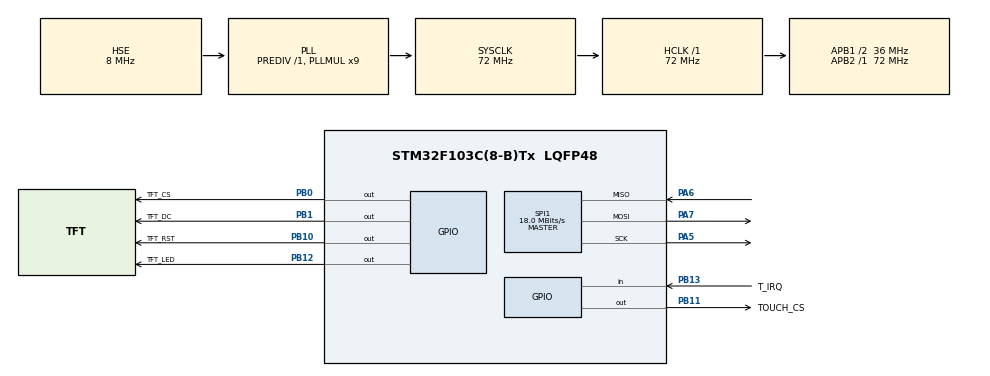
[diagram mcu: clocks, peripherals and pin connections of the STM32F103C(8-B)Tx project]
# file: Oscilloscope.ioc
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Dma.Request0=SPI1_TX
Dma.SPI1_TX.0.Direction=DMA_MEMORY_TO_PERIPH
Dma.SPI1_TX.0.Instance=DMA1_Channel3
Dma.SPI1_TX.0.MemDataAlignment=DMA_MDATAALIGN_BYTE
Dma.SPI1_TX.0.MemInc=DMA_MINC_ENABLE
Dma.SPI1_TX.0.Mode=DMA_NORMAL
Dma.SPI1_TX.0.PeriphDataAlignment=DMA_PDATAALIGN_BYTE
Dma.SPI1_TX.0.PeriphInc=DMA_PINC_DISABLE
Dma.SPI1_TX.0.Priority=DMA_PRIORITY_MEDIUM
Mcu.Family=STM32F1
Mcu.Name=STM32F103C(8-B)Tx
Mcu.Package=LQFP48
NVIC.DMA1_Channel3_IRQn=true\:0\:0\:false\:false\:true\:false\:true\:true
NVIC.PriorityGroup=NVIC_PRIORITYGROUP_4
PA5.Mode=Full_Duplex_Master
PA5.Signal=SPI1_SCK
PA6.Mode=Full_Duplex_Master
PA6.Signal=SPI1_MISO
PA7.Mode=Full_Duplex_Master
PA7.Signal=SPI1_MOSI
PB0.GPIO_Label=TFT_CS
PB0.GPIO_Speed=GPIO_SPEED_FREQ_HIGH
PB0.PinState=GPIO_PIN_SET
PB0.Signal=GPIO_Output
PB1.GPIO_Label=TFT_DC
PB1.GPIO_Speed=GPIO_SPEED_FREQ_HIGH
PB1.PinState=GPIO_PIN_SET
PB1.Signal=GPIO_Output
PB10.GPIO_Label=TFT_RST
PB10.GPIO_Speed=GPIO_SPEED_FREQ_HIGH
PB10.PinState=GPIO_PIN_SET
PB10.Signal=GPIO_Output
PB11.GPIO_Label=TOUCH_CS
PB11.GPIO_Speed=GPIO_SPEED_FREQ_HIGH
PB11.PinState=GPIO_PIN_SET
PB11.Signal=GPIO_Output
PB12.GPIO_Label=TFT_LED
PB12.GPIO_Speed=GPIO_SPEED_FREQ_HIGH
PB12.PinState=GPIO_PIN_SET
PB12.Signal=GPIO_Output
PB13.GPIO_Label=T_IRQ
PB13.Signal=GPIO_Input
PD0-OSC_IN.Mode=HSE-External-Oscillator
PD0-OSC_IN.Signal=RCC_OSC_IN
PD1-OSC_OUT.Mode=HSE-External-Oscillator
PD1-OSC_OUT.Signal=RCC_OSC_OUT
ProjectManager.HeapSize=0x200
ProjectManager.StackSize=0x400
ProjectManager.TargetToolchain=STM32CubeIDE
RCC.AHBFreq_Value=72000000
RCC.APB1CLKDivider=RCC_HCLK_DIV2
RCC.APB1Freq_Value=36000000
RCC.APB1TimFreq_Value=72000000
RCC.APB2Freq_Value=72000000
RCC.APB2TimFreq_Value=72000000
RCC.HCLKFreq_Value=72000000
RCC.PLLMUL=RCC_PLL_MUL9
RCC.PLLSourceVirtual=RCC_PLLSOURCE_HSE
RCC.SYSCLKFreq_VALUE=72000000
RCC.SYSCLKSource=RCC_SYSCLKSOURCE_PLLCLK
RCC.USBFreq_Value=72000000
SPI1.BaudRatePrescaler=SPI_BAUDRATEPRESCALER_4
SPI1.CalculateBaudRate=18.0 MBits/s
SPI1.Direction=SPI_DIRECTION_2LINES
SPI1.Mode=SPI_MODE_MASTER
SPI1.VirtualType=VM_MASTER
VP_SYS_VS_ND.Mode=No_Debug
board=custom

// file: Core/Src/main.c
/* USER CODE BEGIN Header */
/**
  ******************************************************************************
  * @file           : main.c
  * @brief          : Flappy Cube (Ultimate 60FPS Edition)
  ******************************************************************************
  */
/* USER CODE END Header */

#include "main.h"
#include "dma.h"
#include "spi.h"
#include "gpio.h"

/* USER CODE BEGIN Includes */

#include "st7789.h"
#include "XPT2046.h"
#include <stdlib.h>
#include <stdbool.h>
#include <stdio.h>

/* USER CODE END Includes */

/* USER CODE BEGIN PTD */

typedef enum {
    STATE_MENU,
    STATE_DIFFICULTY,
    STATE_PLAYING,
    STATE_DEATH_FALL,
    STATE_GAMEOVER
} GameState;

/* USER CODE END PTD */

/* USER CODE BEGIN PD */

// Game Base Constants
#define BIRD_X           60
#define BIRD_SIZE        14
#define PIPE_WIDTH       40
#define FPS_TARGET_MS    16     // ~60 FPS

// Fixed-Point Math Constants (For sub-pixel smooth physics)
#define FLAP_STRENGTH_FP -1200
#define TERM_VEL_FP      1800

/* USER CODE END PD */

/* USER CODE BEGIN PV */

touch_t touch;

GameState game_state = STATE_MENU;

// Dynamic Gameplay Variables
int pipe_speed = 3;
int gap_size = 85;
int gravity_fp = 70;
uint16_t bird_base_color = YELLOW;
int current_level = 1;

// Physics Variables
int32_t bird_y_fp = (120 << 8);
int32_t bird_vy_fp = 0;
int bird_y = 120; // Actual pixel Y

int pipe_x = 240;
int gap_y = 80;

// Score Tracking
int score = 0;
int last_score = -1;
int high_score = 0;
int score_color_timer = 0;

uint32_t frame_count = 0;
bool was_touched = false;
char text_buffer[20];

/* USER CODE END PV */

void SystemClock_Config(void);

/* USER CODE BEGIN 0 */

/* Helper to draw optimized delta rectangles with boundary clipping */
void Draw_Clipped_Rect(int x, int y, int w, int h, uint16_t color) {
    if (x >= ST7789_WIDTH || x + w <= 0 || y >= ST7789_HEIGHT || y + h <= 0) return;

    int cx = x < 0 ? 0 : x;
    int cy = y < 0 ? 0 : y;
    int cw = (x + w > ST7789_WIDTH) ? ST7789_WIDTH - cx : x + w - cx;
    int ch = (y + h > ST7789_HEIGHT) ? ST7789_HEIGHT - cy : y + h - cy;

    if (cw > 0 && ch > 0) {
        ST7789_DrawFilledRectangle(cx, cy, cw, ch, color);
    }
}

/* ZERO FLICKER BIRD RENDERING (With Dynamic Color Change Support) */
void Update_Bird_Display(int old_y, int new_y, uint16_t color) {
    static uint16_t last_color = BLACK;

    // If color changes (e.g. glowing while flapping), force full redraw to prevent artifacts
    if (color != last_color) {
        ST7789_DrawFilledRectangle(BIRD_X, old_y, BIRD_SIZE, BIRD_SIZE, BLACK);
        ST7789_DrawFilledRectangle(BIRD_X, new_y, BIRD_SIZE, BIRD_SIZE, color);
        last_color = color;
        return;
    }

    if (old_y == new_y) return;

    int dy = new_y - old_y;

    if (dy > 0) { // Moving DOWN
        if (dy < BIRD_SIZE) {
            ST7789_DrawFilledRectangle(BIRD_X, old_y, BIRD_SIZE, dy, BLACK);
            ST7789_DrawFilledRectangle(BIRD_X, old_y + BIRD_SIZE, BIRD_SIZE, dy, color);
        } else {
            ST7789_DrawFilledRectangle(BIRD_X, old_y, BIRD_SIZE, BIRD_SIZE, BLACK);
            ST7789_DrawFilledRectangle(BIRD_X, new_y, BIRD_SIZE, BIRD_SIZE, color);
        }
    } else { // Moving UP
        int abs_dy = -dy;
        if (abs_dy < BIRD_SIZE) {
            ST7789_DrawFilledRectangle(BIRD_X, new_y + BIRD_SIZE, BIRD_SIZE, abs_dy, BLACK);
            ST7789_DrawFilledRectangle(BIRD_X, new_y, BIRD_SIZE, abs_dy, color);
        } else {
            ST7789_DrawFilledRectangle(BIRD_X, old_y, BIRD_SIZE, BIRD_SIZE, BLACK);
            ST7789_DrawFilledRectangle(BIRD_X, new_y, BIRD_SIZE, BIRD_SIZE, color);
        }
    }
}

/* Instant Hardware Flash Effect */
void Screen_Hit_Flash(void) {
    ST7789_InvertColors(1);
    HAL_Delay(40);
    ST7789_InvertColors(0);
}

/* USER CODE END 0 */

int main(void)
{
  /* MCU Configuration--------------------------------------------------------*/
  HAL_Init();
  SystemClock_Config();
  MX_GPIO_Init();
  MX_DMA_Init();
  MX_SPI1_Init();

  /* USER CODE BEGIN 2 */
  HAL_GPIO_WritePin(TFT_LED_GPIO_Port, TFT_LED_Pin, GPIO_PIN_SET);

  ST7789_Init();
  XPT2046_init(&hspi1, XPT2046_LANDSCAPE, ST7789_WIDTH, ST7789_HEIGHT);

  ST7789_DrawFilledRectangle(0, 0, ST7789_WIDTH, ST7789_HEIGHT, BLACK);
  srand(HAL_GetTick());

  /* USER CODE END 2 */

  /* Infinite loop */
  /* USER CODE BEGIN WHILE */
  while (1)
  {
      uint32_t frame_start = HAL_GetTick();
      frame_count++;

      /* --- INPUT HANDLING --- */
      bool is_touched = (HAL_GPIO_ReadPin(XPT2046_IRQ_GPIO_Port, XPT2046_IRQ_Pin) == GPIO_PIN_RESET);
      if (is_touched) touch = XPT2046_getTouch();
      bool touch_pressed = (is_touched && !was_touched);
      was_touched = is_touched;

      /* ====================================================================
         STATE: MENU
         ==================================================================== */
      if (game_state == STATE_MENU)
      {
          ST7789_WriteString(40, 50, "FLAPPY", Font_16x26, CYAN, BLACK);
          ST7789_WriteString(40, 80, "CUBE", Font_16x26, CYAN, BLACK);

          if ((frame_count % 60) == 0) ST7789_WriteString(24, 170, "TAP TO START", Font_16x26, WHITE, BLACK);
          if ((frame_count % 60) == 30) ST7789_DrawFilledRectangle(24, 170, 12*16, 26, BLACK);

          // Smooth Hover Animation
          int old_y = bird_y;
          bird_y = 120 + (abs(((int)frame_count % 40) - 20) - 10) / 2;
          Update_Bird_Display(old_y, bird_y, YELLOW);

          if (touch_pressed) {
              ST7789_DrawFilledRectangle(0, 0, 240, 240, BLACK); // Full clear for next menu
              game_state = STATE_DIFFICULTY;
          }
      }
      /* ====================================================================
         STATE: DIFFICULTY SELECTOR
         ==================================================================== */
      else if (game_state == STATE_DIFFICULTY)
      {
          ST7789_WriteString(40, 20, "DIFFICULTY", Font_16x26, CYAN, BLACK);

          ST7789_WriteString(80, 70, "EASY", Font_16x26, GREEN, BLACK);
          ST7789_DrawLine(20, 105, 220, 105, LGRAY);

          ST7789_WriteString(70, 120, "NORMAL", Font_16x26, YELLOW, BLACK);
          ST7789_DrawLine(20, 155, 220, 155, LGRAY);

          ST7789_WriteString(80, 170, "HARD", Font_16x26, RED, BLACK);

          if (touch_pressed) {
              // Map Touch Y to difficulty blocks
              if (touch.y < 105) {
                  pipe_speed = 2; gap_size = 100; gravity_fp = 50; bird_base_color = GREEN;
              } else if (touch.y < 155) {
                  pipe_speed = 3; gap_size = 85; gravity_fp = 70; bird_base_color = YELLOW;
              } else {
                  pipe_speed = 4; gap_size = 70; gravity_fp = 95; bird_base_color = RED;
              }

              ST7789_DrawFilledRectangle(0, 0, 240, 240, BLACK);

              // Reset Game Variables
              bird_y_fp = (120 << 8);
              bird_vy_fp = FLAP_STRENGTH_FP;
              pipe_x = ST7789_WIDTH;
              gap_y = 40 + (rand() % (ST7789_HEIGHT - 80 - gap_size));
              score = 0;
              last_score = -1;
              score_color_timer = 0;
              current_level = 1;

              game_state = STATE_PLAYING;
          }
      }
      /* ====================================================================
         STATE: PLAYING
         ==================================================================== */
      else if (game_state == STATE_PLAYING)
      {
          /* 1. Sub-Pixel Physics Update */
          if (touch_pressed) bird_vy_fp = FLAP_STRENGTH_FP;

          int old_bird_y = bird_y;

          bird_vy_fp += gravity_fp;
          if (bird_vy_fp > TERM_VEL_FP) bird_vy_fp = TERM_VEL_FP;
          bird_y_fp += bird_vy_fp;

          bird_y = bird_y_fp >> 8;

          /* 2. Pipe Update */
          int old_pipe_x = pipe_x;
          pipe_x -= pipe_speed;

          if (pipe_x + PIPE_WIDTH < 0) {
              // Ensure left edge is clean
              Draw_Clipped_Rect(0, 0, pipe_speed + 2, ST7789_HEIGHT, BLACK);
              pipe_x = ST7789_WIDTH;
              score++;
              score_color_timer = 20;

              // LEVEL UP MECHANICS
              if (score % 10 == 0) {
                  current_level++;
                  // Day/Night Dimension Shift
                  ST7789_InvertColors(current_level % 2 == 0 ? 1 : 0);

                  // Progressively increase difficulty
                  if (gap_size > 55) gap_size -= 5;
                  if (pipe_speed < 6) pipe_speed += 1;
              }

              gap_y = 30 + (rand() % (ST7789_HEIGHT - 60 - gap_size));
          }

          /* 3. Graphics Update */
          // Glow WHITE if flying upwards, otherwise normal color
          uint16_t render_color = (bird_vy_fp < 0) ? WHITE : bird_base_color;
          Update_Bird_Display(old_bird_y, bird_y, render_color);

          int trail_x = pipe_x + PIPE_WIDTH;
          Draw_Clipped_Rect(trail_x, 0, pipe_speed, gap_y, BLACK);
          Draw_Clipped_Rect(trail_x, gap_y + gap_size, pipe_speed, ST7789_HEIGHT - (gap_y + gap_size), BLACK);

          Draw_Clipped_Rect(pipe_x, 0, pipe_speed, gap_y, GREEN);
          Draw_Clipped_Rect(pipe_x, gap_y + gap_size, pipe_speed, ST7789_HEIGHT - (gap_y + gap_size), GREEN);

          // Score Effect: Turns Green briefly when passing a pipe
          bool pipe_under_score = (pipe_x < 70 && pipe_x + PIPE_WIDTH > 0);
          if (score != last_score || pipe_under_score || score_color_timer > 0) {
              uint16_t s_color = (score_color_timer > 0) ? GREEN : WHITE;
              if (score_color_timer > 0) score_color_timer--;

              sprintf(text_buffer, "%d ", score);
              ST7789_WriteString(10, 10, text_buffer, Font_16x26, s_color, BLACK);
              last_score = score;
          }

          /* 4. Collision Detection */
          bool hit_ground_ceil = (bird_y + BIRD_SIZE >= ST7789_HEIGHT) || (bird_y <= 0);
          bool hit_pipe_x = (BIRD_X + BIRD_SIZE >= pipe_x) && (BIRD_X <= pipe_x + PIPE_WIDTH);
          bool hit_pipe_y = (bird_y <= gap_y) || (bird_y + BIRD_SIZE >= gap_y + gap_size);

          if (hit_ground_ceil || (hit_pipe_x && hit_pipe_y)) {
              if (score > high_score) high_score = score;

              ST7789_InvertColors(0); // Reset Day/Night Cycle
              Screen_Hit_Flash();     // Epic visual hit feedback

              bird_vy_fp = 0;         // Stop flying up
              game_state = STATE_DEATH_FALL;
          }
      }
      /* ====================================================================
         STATE: DEATH FALL (Bird falls down red, pipes freeze)
         ==================================================================== */
      else if (game_state == STATE_DEATH_FALL)
      {
          int old_bird_y = bird_y;

          bird_vy_fp += (gravity_fp * 2); // Fall fast
          bird_y_fp += bird_vy_fp;
          bird_y = bird_y_fp >> 8;

          if (bird_y + BIRD_SIZE >= ST7789_HEIGHT) {
              bird_y = ST7789_HEIGHT - BIRD_SIZE; // Snap to floor
              Update_Bird_Display(old_bird_y, bird_y, RED);

              // Erase Pipe
              if (pipe_x < ST7789_WIDTH) {
                  Draw_Clipped_Rect(pipe_x, 0, PIPE_WIDTH, gap_y, BLACK);
                  Draw_Clipped_Rect(pipe_x, gap_y + gap_size, PIPE_WIDTH, ST7789_HEIGHT - (gap_y + gap_size), BLACK);
              }
              ST7789_DrawFilledRectangle(10, 10, 5*16, 26, BLACK); // Erase Score

              game_state = STATE_GAMEOVER;
          } else {
              Update_Bird_Display(old_bird_y, bird_y, RED); // Turn red while falling
          }
      }
      /* ====================================================================
         STATE: GAMEOVER
         ==================================================================== */
      else if (game_state == STATE_GAMEOVER)
      {
          ST7789_WriteString(50, 40, "GAME OVER", Font_16x26, RED, BLACK);

          sprintf(text_buffer, "SCORE: %d ", score);
          ST7789_WriteString(40, 100, text_buffer, Font_16x26, WHITE, BLACK);

          sprintf(text_buffer, "BEST : %d ", high_score);
          ST7789_WriteString(40, 130, text_buffer, Font_16x26, YELLOW, BLACK);

          if ((frame_count % 60) == 0) ST7789_WriteString(24, 190, "TAP TO RETRY", Font_16x26, WHITE, BLACK);
          if ((frame_count % 60) == 30) ST7789_DrawFilledRectangle(24, 190, 12*16, 26, BLACK);

          if (touch_pressed) {
              ST7789_DrawFilledRectangle(50, 40, 9*16, 26, BLACK);
              ST7789_DrawFilledRectangle(40, 100, 10*16, 26, BLACK);
              ST7789_DrawFilledRectangle(40, 130, 10*16, 26, BLACK);
              ST7789_DrawFilledRectangle(24, 190, 12*16, 26, BLACK);
              ST7789_DrawFilledRectangle(BIRD_X, bird_y, BIRD_SIZE, BIRD_SIZE, BLACK);

              game_state = STATE_MENU;
              HAL_Delay(300); // Debounce
              was_touched = false;
          }
      }

      /* --- 60 FPS LIMITER --- */
      uint32_t frame_time = HAL_GetTick() - frame_start;
      if (frame_time < FPS_TARGET_MS) {
          HAL_Delay(FPS_TARGET_MS - frame_time);
      }
  }
  /* USER CODE END 3 */
}

void SystemClock_Config(void)
{
  RCC_OscInitTypeDef RCC_OscInitStruct = {0};
  RCC_ClkInitTypeDef RCC_ClkInitStruct = {0};

  RCC_OscInitStruct.OscillatorType = RCC_OSCILLATORTYPE_HSE;
  RCC_OscInitStruct.HSEState = RCC_HSE_ON;
  RCC_OscInitStruct.HSEPredivValue = RCC_HSE_PREDIV_DIV1;
  RCC_OscInitStruct.HSIState = RCC_HSI_ON;
  RCC_OscInitStruct.PLL.PLLState = RCC_PLL_ON;
  RCC_OscInitStruct.PLL.PLLSource = RCC_PLLSOURCE_HSE;
  RCC_OscInitStruct.PLL.PLLMUL = RCC_PLL_MUL9;

  if (HAL_RCC_OscConfig(&RCC_OscInitStruct) != HAL_OK)
  {
    Error_Handler();
  }

  RCC_ClkInitStruct.ClockType = RCC_CLOCKTYPE_HCLK | RCC_CLOCKTYPE_SYSCLK | RCC_CLOCKTYPE_PCLK1 | RCC_CLOCKTYPE_PCLK2;
  RCC_ClkInitStruct.SYSCLKSource = RCC_SYSCLKSOURCE_PLLCLK;
  RCC_ClkInitStruct.AHBCLKDivider = RCC_SYSCLK_DIV1;
  RCC_ClkInitStruct.APB1CLKDivider = RCC_HCLK_DIV2;
  RCC_ClkInitStruct.APB2CLKDivider = RCC_HCLK_DIV1;

  if (HAL_RCC_ClockConfig(&RCC_ClkInitStruct, FLASH_LATENCY_2) != HAL_OK)
  {
    Error_Handler();
  }
}

void Error_Handler(void)
{
  __disable_irq();
  while (1) {}
}
